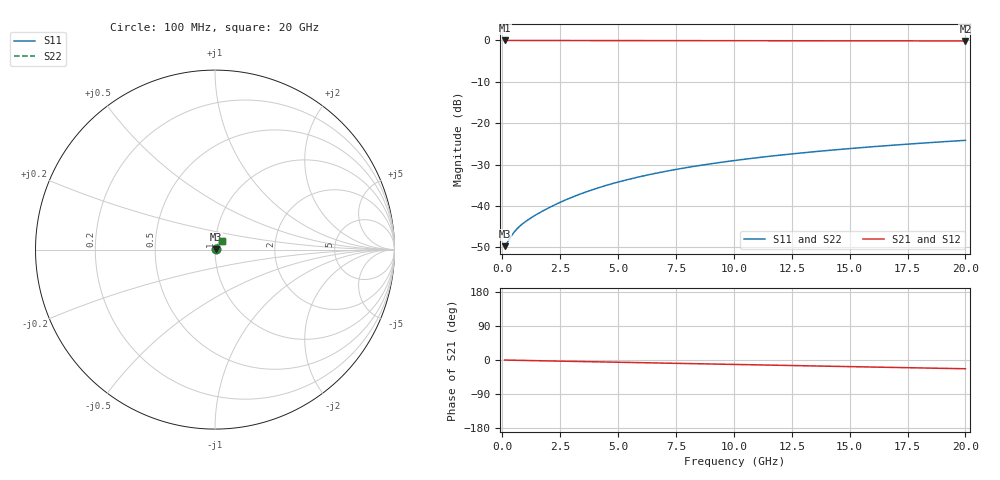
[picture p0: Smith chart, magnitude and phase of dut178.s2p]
! Touchstone file exported from HFSS 2026.1.0
!  File:  C:/ffzhzh/LocalFiles/Ansys_Project_Files/temp_train_BSMRDL_178_1782987131_42984.aedt
!  Generated:  06:13:20 PM Jul  2, 2026
!  Design:  BSMRDL
!  Project:  temp_train_BSMRDL_178_1782987131_42984
! Variables:
!  h_bsmrdl = 3.11um
!  h_ox = 20um
!  h_rdl = 5um
!  h_sub = 80um
!  h_tmrdl = 5um
!  h_tsv = 80um
!  h_via = 3um
!  l_bsmrdl = 407.39um
!  l_sub = 807.39um
!  l_tmrdl = 200um
!  m_sub = 200um
!  pitch = 20.05um
!  r_tsv = 6um
!  s_tmrdl = 10um
!  w_bsmrdl = 15.43um
!  w_sub = 500um
!  w_tmrdl = 12um
!  x_tsv_center1 = 206um
!  x_tsv_center2 = 628.82um
!  x_tsv_center3 = 840.82um
!  x_tsv_center4 = 1263.64um
!  x_tsv_center5 = 1475.64um
!  x_tsv_center6 = 1898.46um
# GHz S MA R 50.000000
! Terminal data exported
! Port[1] = BSM_RDL1_1_T1
! Port[2] = BSM_RDL1_1_T2
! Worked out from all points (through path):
!   200 points, 100 MHz to 20 GHz, reference 50 ohm
!   highest |S21| = -0.03 dB at 100 MHz (marker M1); lowest = -0.1 dB at 20 GHz (marker M2)
!   group delay of S21, straight-line fit = 3.2 ps
!   lowest |S11| = -49.7 dB at 100 MHz (marker M3), VSWR 1.01, Z = 50.3 + j0.0684 ohm
!   |S11| at or under -10 dB: start of sweep to end of sweep
!   |S22| runs from -49.7 to -24.2 dB; largest |S21 - S12| = 2.6e-15
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0.1  0.003275 12.0  0.9968 -0.1  0.9968 -0.1  0.003275 12.0
! Gamma 0 0 0 0
! Port Impedance 50 0 50 0
0.2  0.003574 21.5  0.9967 -0.3  0.9967 -0.3  0.003595 21.4
0.4  0.004389 32.5  0.9962 -0.5  0.9962 -0.5  0.004439 32.1
0.5  0.004795 35.6  0.996 -0.6  0.996 -0.6  0.004848 35.1
0.6  0.005173 37.8  0.9959 -0.8  0.9959 -0.8  0.005225 37.3
0.8  0.005857 41.3  0.9956 -1.0  0.9956 -1.0  0.005898 40.8
1.1  0.006776 45.6  0.9953 -1.4  0.9953 -1.4  0.0068 45.2
1.6  0.00826 51.4  0.995 -1.9  0.995 -1.9  0.008267 51.2
2.2  0.01012 56.5  0.9948 -2.6  0.9948 -2.6  0.01012 56.4
2.8  0.01206 59.9  0.9945 -3.4  0.9945 -3.4  0.01206 59.9
3.5  0.0144 62.4  0.9942 -4.2  0.9942 -4.2  0.01439 62.4
4.2  0.01676 63.8  0.9938 -5.0  0.9938 -5.0  0.01675 63.9
5  0.01946 64.6  0.9934 -5.9  0.9934 -5.9  0.01945 64.7
5.9  0.02246 64.9  0.9928 -7.0  0.9928 -7.0  0.02245 65.0
6.8  0.02541 64.8  0.9922 -8.1  0.9922 -8.1  0.0254 64.9
8.3  0.03017 64.0  0.9912 -9.8  0.9912 -9.8  0.03016 64.1
10.1  0.03565 62.7  0.9899 -11.9  0.9899 -11.9  0.03563 62.8
11.7  0.0403 61.3  0.9888 -13.7  0.9888 -13.7  0.04027 61.4
13.4  0.04505 59.7  0.9876 -15.6  0.9876 -15.6  0.04501 59.9
15  0.04936 58.2  0.9866 -17.5  0.9866 -17.5  0.04932 58.4
16.7  0.0538 56.6  0.9856 -19.4  0.9856 -19.4  0.05375 56.8
20  0.06205 53.5  0.9837 -23.1  0.9837 -23.1  0.06198 53.8
